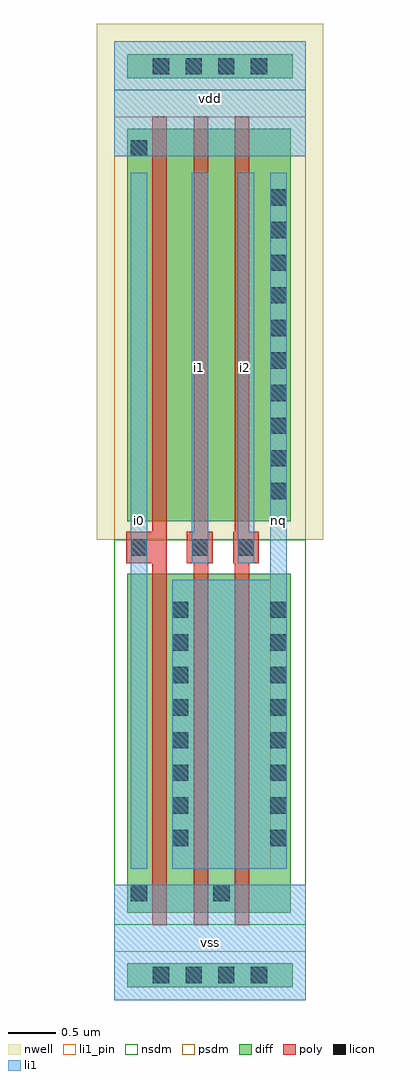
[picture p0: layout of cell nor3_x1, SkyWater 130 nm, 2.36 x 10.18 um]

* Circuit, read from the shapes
.subckt nor3_x1 i0 i1 i2 nq vdd vss
XM1 nq i0 vss VSUBS sky130_fd_pr__nfet_01v8 w=3.535 l=0.15
XM2 vss i1 nq VSUBS sky130_fd_pr__nfet_01v8 w=3.535 l=0.15
XM3 nq i2 vss VSUBS sky130_fd_pr__nfet_01v8 w=3.535 l=0.15
XM4 n1 i0 vdd n2 sky130_fd_pr__pfet_01v8 w=4.095 l=0.15
XM5 n3 i1 n1 n2 sky130_fd_pr__pfet_01v8 w=4.095 l=0.15
XM6 nq i2 n3 n2 sky130_fd_pr__pfet_01v8 w=4.095 l=0.15
.ends

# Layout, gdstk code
import gdstk
lib = gdstk.Library(unit=1e-6, precision=1e-09)
def R(c, l, rs):  # rectangles x0, y0, x1, y1
    for r in rs: c.add(gdstk.rectangle(r[:2], r[2:], *l))
def A(c, l, x, y, w, h, nx, ny, dx, dy):  # array of equal rectangles
    R(c, l, [(x+i*dx, y+j*dy, x+i*dx+w, y+j*dy+h) for i in range(nx) for j in range(ny)])
def P(c, l, *ps):  # polygons
    for p in ps: c.add(gdstk.Polygon(p, *l))
nwell = (64, 20)
diff = (65, 20)
poly = (66, 20)
licon = (66, 44)
li1_pin = (67, 16)
li1 = (67, 20)
nsdm = (93, 44)
psdm = (94, 20)

nor3_x1 = lib.new_cell('nor3_x1')
R(nor3_x1, nwell, [(-0.18,4.8,2.18,10.18)])
R(nor3_x1, diff, [(0.135,0.135,1.865,0.385), (0.135,0.91,1.84,4.445), (0.135,4.995,1.84,9.09), (0.135,9.615,1.865,9.865)])
P(nor3_x1, poly, [(0.4,0.78),(0.4,4.555),(0.125,4.555),(0.125,4.885),(0.4,4.885),(0.4,9.22),(0.55,9.22),(0.55,0.78)],
  [(0.83,0.78),(0.83,4.555),(0.76,4.555),(0.76,4.885),(0.83,4.885),(0.83,9.22),(0.98,9.22),(0.98,4.885),(1.03,4.885),(1.03,4.555),(0.98,4.555),(0.98,0.78)],
  [(1.26,0.78),(1.26,4.555),(1.24,4.555),(1.24,4.885),(1.26,4.885),(1.26,9.22),(1.41,9.22),(1.41,4.885),(1.51,4.885),(1.51,4.555),(1.41,4.555),(1.41,0.78)])
A(nor3_x1, licon, 0.405, 0.175, 0.17, 0.17, 4, 2, 0.34, 9.48)
A(nor3_x1, licon, 0.605, 1.605, 0.17, 0.17, 1, 8, 0, 0.34)
A(nor3_x1, licon, 1.63, 1.605, 0.17, 0.17, 1, 8, 0, 0.34)
A(nor3_x1, licon, 1.63, 5.225, 0.17, 0.17, 1, 10, 0, 0.34)
R(nor3_x1, licon, [(0.175,1.03,0.345,1.2), (1.035,1.03,1.205,1.2), (0.175,4.635,0.345,4.805), (0.81,4.635,0.98,4.805), (1.29,4.635,1.46,4.805), (0.175,8.8,0.345,8.97)])
R(nor3_x1, li1_pin, [(0,0,2,1.2), (0.175,1.37,0.345,8.63), (1.63,1.37,1.8,8.63), (0.81,4.555,0.98,8.63), (1.29,4.555,1.46,8.63), (0,8.8,2,10)])
R(nor3_x1, li1, [(0,0,2,1.2), (0.175,1.37,0.345,8.63), (0.81,4.555,0.98,8.63), (1.29,4.555,1.46,8.63), (0,8.8,2,10)])
P(nor3_x1, li1, [(0.605,1.37),(0.605,4.385),(1.63,4.385),(1.63,8.63),(1.8,8.63),(1.8,1.37)])
R(nor3_x1, nsdm, [(0,0.785,2,4.8), (0,9.49,2,10)])
R(nor3_x1, psdm, [(0,0,2,0.51), (0,4.8,2,9.215)])
nor3_x1.add(gdstk.Label('vss', (1,0.6), layer=67, texttype=16))
nor3_x1.add(gdstk.Label('vdd', (1,9.4), layer=67, texttype=16))
nor3_x1.add(gdstk.Label('nq', (1.715,5), layer=67, texttype=16))
nor3_x1.add(gdstk.Label('i0', (0.26,5), layer=67, texttype=16))
nor3_x1.add(gdstk.Label('i1', (0.895,6.593), layer=67, texttype=16))
nor3_x1.add(gdstk.Label('i2', (1.375,6.593), layer=67, texttype=16))

lib.write_gds('nor3_x1.gds')
